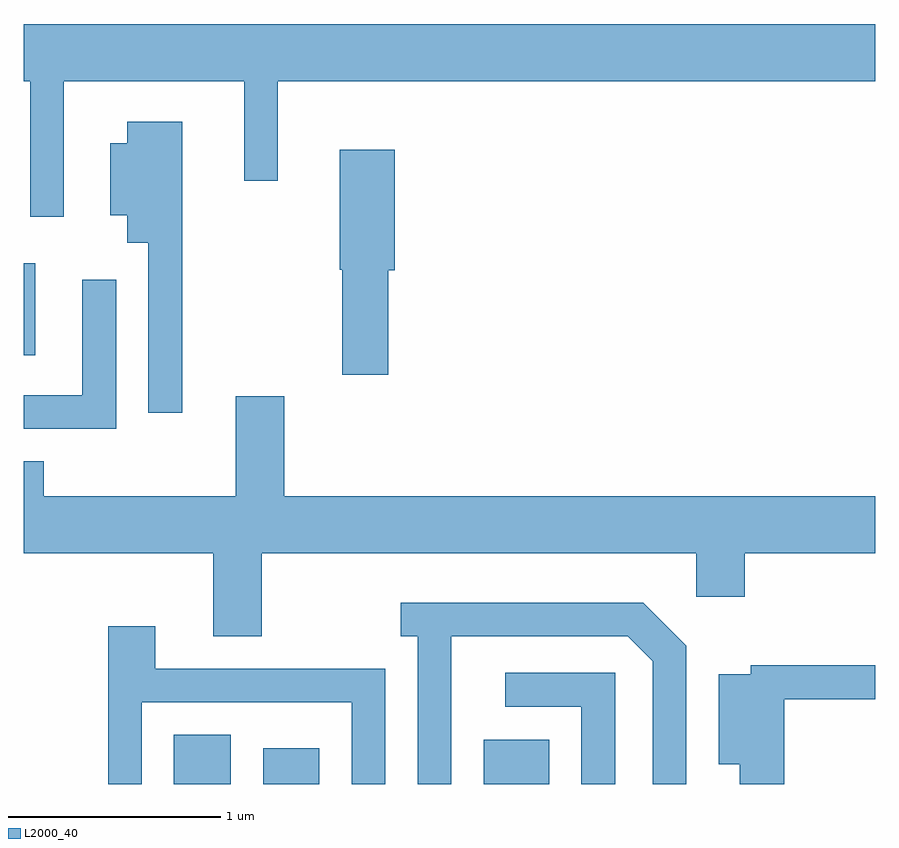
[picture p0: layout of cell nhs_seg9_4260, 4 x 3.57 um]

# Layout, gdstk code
import gdstk
lib = gdstk.Library(unit=1e-6, precision=1e-09)
def R(c, l, rs):  # rectangles x0, y0, x1, y1
    for r in rs: c.add(gdstk.rectangle(r[:2], r[2:], *l))
def P(c, l, *ps):  # polygons
    for p in ps: c.add(gdstk.Polygon(p, *l))
L2000_40 = (2000, 40)

nhs_seg9_4260 = lib.new_cell('nhs_seg9_4260')
R(nhs_seg9_4260, L2000_40, [(310.316,2068.432,310.584,2068.664), (310.736,2068.432,310.999,2068.599), (311.771,2068.432,312.079,2068.639), (309.611,2070.446,309.664,2070.879)])
P(nhs_seg9_4260, L2000_40, [(309.799,2071.736),(310.646,2071.736),(310.646,2071.268),(310.804,2071.268),(310.804,2071.736),(313.611,2071.736),(313.611,2072.004),(309.611,2072.004),(309.611,2071.736),(309.641,2071.736),(309.641,2071.097),(309.799,2071.097)],
  [(310.354,2071.544),(310.096,2071.544),(310.096,2071.444),(310.016,2071.444),(310.016,2071.106),(310.096,2071.106),(310.096,2070.976),(310.196,2070.976),(310.196,2070.178),(310.354,2070.178)],
  [(311.324,2070.846),(311.354,2070.846),(311.354,2071.414),(311.096,2071.414),(311.096,2070.85),(311.106,2070.85),(311.106,2070.356),(311.324,2070.356)],
  [(310.044,2070.803),(309.886,2070.803),(309.886,2070.259),(309.611,2070.259),(309.611,2070.101),(310.044,2070.101)],
  [(310.729,2069.516),(312.771,2069.516),(312.771,2069.311),(312.999,2069.311),(312.999,2069.516),(313.611,2069.516),(313.611,2069.784),(310.834,2069.784),(310.834,2070.254),(310.606,2070.254),(310.606,2069.784),(309.704,2069.784),(309.704,2069.949),(309.611,2069.949),(309.611,2069.516),(310.501,2069.516),(310.501,2069.126),(310.729,2069.126)],
  [(311.619,2069.126),(312.449,2069.126),(312.566,2069.009),(312.566,2068.432),(312.724,2068.432),(312.724,2069.082),(312.522,2069.284),(311.383,2069.284),(311.383,2069.126),(311.461,2069.126),(311.461,2068.432),(311.619,2068.432)],
  [(310.164,2068.816),(311.151,2068.816),(311.151,2068.432),(311.309,2068.432),(311.309,2068.974),(310.229,2068.974),(310.229,2069.174),(310.006,2069.174),(310.006,2068.432),(310.164,2068.432)],
  [(313.184,2068.831),(313.611,2068.831),(313.611,2068.989),(313.026,2068.989),(313.026,2068.949),(312.876,2068.949),(312.876,2068.526),(312.976,2068.526),(312.976,2068.432),(313.184,2068.432)],
  [(312.389,2068.954),(311.873,2068.954),(311.873,2068.796),(312.231,2068.796),(312.231,2068.432),(312.389,2068.432)])

lib.write_gds('nhs_seg9_4260.gds')
